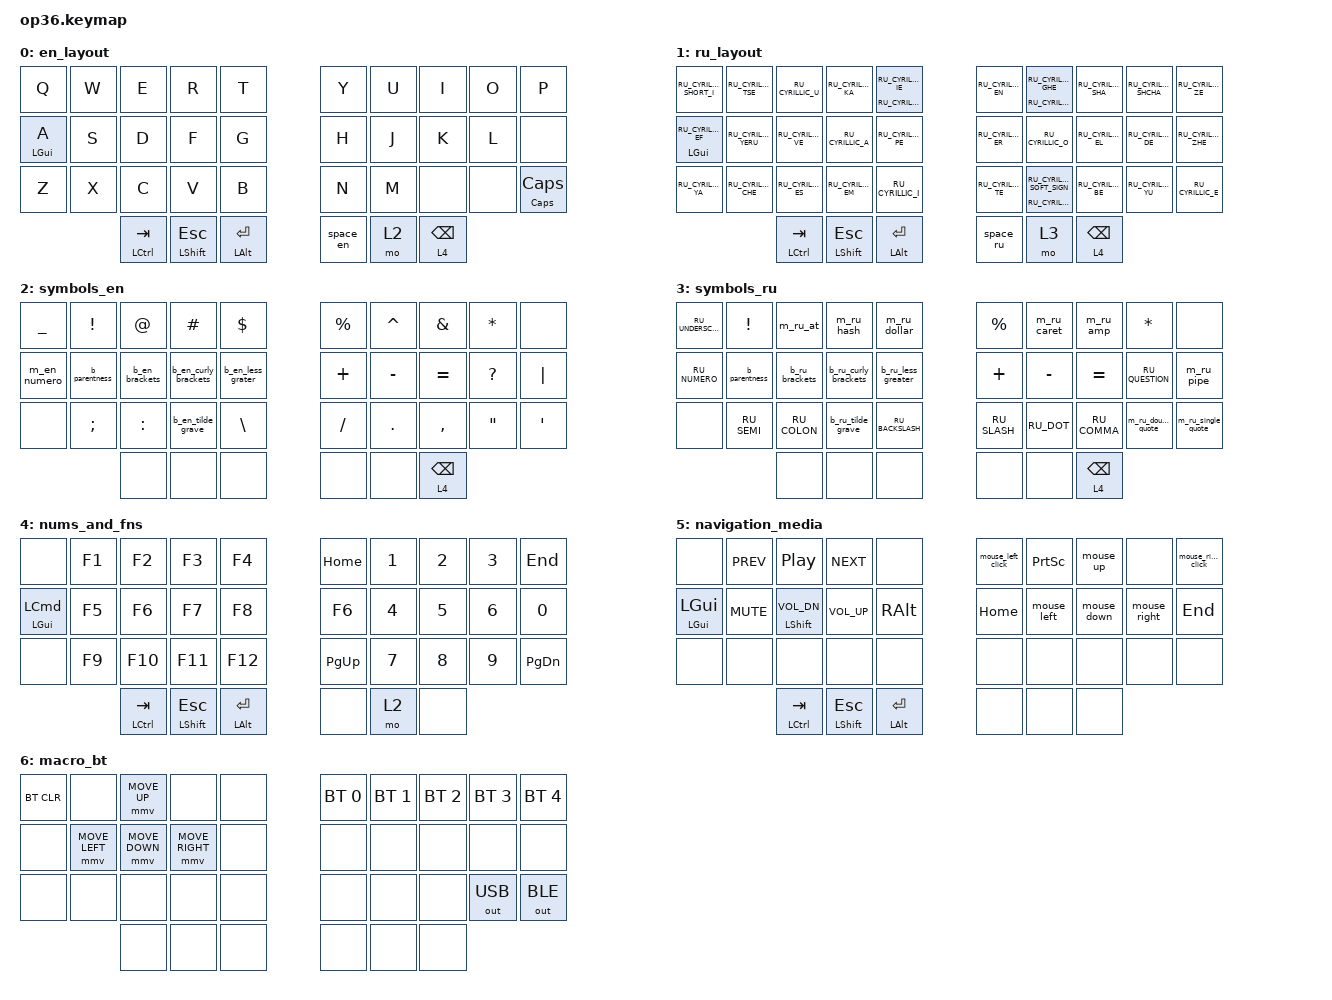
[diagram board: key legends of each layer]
#include "keys_ru.h"
#include <behaviors.dtsi>
#include <dt-bindings/zmk/bt.h>
#include <dt-bindings/zmk/keys.h>
#include <dt-bindings/zmk/outputs.h>
#include <dt-bindings/zmk/pointing.h>

&mt {
    flavor = "balanced";
    quick-tap-ms = <175>;
};

/ {
    behaviors {
        hml: home_row_mod_left {
            compatible = "zmk,behavior-hold-tap";
            #binding-cells = <2>;
            flavor = "balanced";
            require-prior-idle-ms = <150>;
            tapping-term-ms = <280>;
            quick-tap-ms = <175>;
            bindings = <&kp>, <&kp>;

            hold-trigger-key-positions = <5 6 7 8 9 15 16 17 18 19 25 26 27 28 29 33 34 35>;
            hold-trigger-on-release;
        };

        space_en: space_en {
            compatible = "zmk,behavior-tap-dance";
            label = "SPACE_EN";
            #binding-cells = <0>;
            bindings = <&kp SPACE>, <&space_comma_en>, <&space_dot_en>;
        };

        space_ru: space_ru {
            compatible = "zmk,behavior-tap-dance";
            label = "SPACE_RU";
            #binding-cells = <0>;
            bindings = <&kp SPACE>, <&space_comma_ru>, <&space_dot_ru>;
        };

        b_en_curly_brackets: b_en_curly_brackets {
            compatible = "zmk,behavior-tap-dance";
            label = "B_EN_CURLY_BRACKETS";
            #binding-cells = <0>;
            bindings = <&kp LEFT_BRACE>, <&kp RIGHT_BRACE>;
        };

        b_en_brackets: b_en_brackets {
            compatible = "zmk,behavior-tap-dance";
            label = "B_EN_BRACKETS";
            #binding-cells = <0>;
            bindings = <&kp LEFT_BRACKET>, <&kp RIGHT_BRACKET>;
        };

        b_parentness: b_parentness {
            compatible = "zmk,behavior-tap-dance";
            label = "B_PARENTNESS";
            #binding-cells = <0>;
            bindings = <&kp LPAR>, <&kp RPAR>;
        };

        b_en_less_grater: b_en_less_grater {
            compatible = "zmk,behavior-tap-dance";
            label = "B_EN_LESS_GRATER";
            #binding-cells = <0>;
            bindings = <&kp LT>, <&kp GT>;
        };

        b_ru_tilde_grave: b_ru_tilde_grave {
            compatible = "zmk,behavior-tap-dance";
            label = "B_RU_TILDE_GRAVE";
            #binding-cells = <0>;
            bindings = <&m_ru_tilde>, <&m_ru_grave>;
        };

        b_ru_curly_brackets: b_ru_curly_brackets {
            compatible = "zmk,behavior-tap-dance";
            label = "B_RU_CURLY_BRACKETS";
            #binding-cells = <0>;
            bindings = <&m_ru_curly_bracket_open>, <&m_ru_curly_bracket_close>;
        };

        b_ru_brackets: b_ru_brackets {
            compatible = "zmk,behavior-tap-dance";
            label = "B_RU_BRACKETS";
            #binding-cells = <0>;
            bindings = <&m_ru_bracket_open>, <&m_ru_bracket_close>;
        };

        b_ru_less_greater: b_ru_less_greater {
            compatible = "zmk,behavior-tap-dance";
            label = "B_RU_LESS_GREATER";
            #binding-cells = <0>;
            bindings = <&m_ru_less>, <&m_ru_grater>;
        };

        b_en_tilde_grave: b_en_tilde_grave {
            compatible = "zmk,behavior-tap-dance";
            label = "B_EN_TILDE_GRAVE";
            #binding-cells = <0>;
            bindings = <&kp TILDE>, <&kp GRAVE>;
        };

        mouse_left: mouse_left {
            compatible = "zmk,behavior-mod-morph";
            label = "MOUSE_LEFT";
            bindings = <&kp LEFT_ARROW>, <&mmv MOVE_LEFT>;

            #binding-cells = <0>;
            mods = <(MOD_RALT)>;
        };

        mouse_right: mouse_right {
            compatible = "zmk,behavior-mod-morph";
            label = "MOUSE_RIGHT";
            bindings = <&kp RIGHT_ARROW>, <&mmv MOVE_RIGHT>;

            #binding-cells = <0>;
            mods = <(MOD_RALT)>;
        };

        mouse_up: mouse_up {
            compatible = "zmk,behavior-mod-morph";
            label = "MOUSE_UP";
            bindings = <&kp UP>, <&mmv MOVE_UP>;

            #binding-cells = <0>;
            mods = <(MOD_RALT)>;
        };

        mouse_down: mouse_down {
            compatible = "zmk,behavior-mod-morph";
            label = "MOUSE_DOWN";
            bindings = <&kp DOWN_ARROW>, <&mmv MOVE_DOWN>;

            #binding-cells = <0>;
            mods = <(MOD_RALT)>;
        };

        mouse_left_click: mouse_left_click {
            compatible = "zmk,behavior-mod-morph";
            label = "MOUSE_LEFT_CLICK";
            bindings = <&none>, <&mkp LCLK>;

            #binding-cells = <0>;
            mods = <(MOD_RALT)>;
        };

        mouse_right_click: mouse_right_click {
            compatible = "zmk,behavior-mod-morph";
            label = "MOUSE_RIGHT_CLICK";
            bindings = <&none>, <&mkp RCLK>;

            #binding-cells = <0>;
            mods = <(MOD_RALT)>;
        };
    };

    combos {
        compatible = "zmk,combos";

        switch_to_en {
            bindings = <&to_en>;
            key-positions = <30 32>;
            layers = <1>;
        };

        switch_to_ru {
            bindings = <&to_ru>;
            key-positions = <30 32>;
            layers = <0>;
        };

        reboot {
            bindings = <&sys_reset>;
            key-positions = <1 3 6 8>;
        };
    };

    macros {
        space_comma_en: space_comma_en {
            compatible = "zmk,behavior-macro";
            #binding-cells = <0>;
            bindings = <&kp COMMA &kp SPACE>;
            label = "SPACE_COMMA_EN";
        };

        space_dot_en: space_dot_en {
            compatible = "zmk,behavior-macro";
            #binding-cells = <0>;
            bindings = <&kp DOT &kp SPACE>;
            label = "SPACE_DOT_EN";
        };

        space_comma_ru: space_comma_ru {
            compatible = "zmk,behavior-macro";
            #binding-cells = <0>;
            bindings = <&kp RU_COMMA &kp SPACE>;
            label = "SPACE_COMMA_RU";
        };

        space_dot_ru: space_dot_ru {
            compatible = "zmk,behavior-macro";
            #binding-cells = <0>;
            bindings = <&kp RU_DOT &kp SPACE>;
            label = "SPACE_DOT_RU";
        };

        to_en: to_en {
            compatible = "zmk,behavior-macro";
            #binding-cells = <0>;
            bindings = <&to 0 &kp LS(LALT)>;
            label = "TO_EN";
        };

        to_ru: to_ru {
            compatible = "zmk,behavior-macro";
            #binding-cells = <0>;
            bindings = <&to 1 &kp LS(LALT)>;
            label = "TO_RU";
        };

        m_ru_single_quote: m_single_quote {
            compatible = "zmk,behavior-macro";
            #binding-cells = <0>;
            bindings = <&kp LS(LEFT_ALT) &kp APOSTROPHE &kp LS(LALT)>;
            label = "M_SINGLE_QUOTE";
        };

        m_ru_double_quote: m_double_quote {
            compatible = "zmk,behavior-macro";
            #binding-cells = <0>;
            bindings = <&kp LS(LEFT_ALT) &kp DOUBLE_QUOTES &kp LS(LEFT_ALT)>;
            label = "M_DOUBLE_QUOTE";
        };

        m_ru_curly_bracket_open: ru_curly_brackets {
            compatible = "zmk,behavior-macro";
            #binding-cells = <0>;
            bindings = <&kp LS(LEFT_ALT) &kp LEFT_BRACE &kp LS(LALT)>;
            label = "RU_CURLY_BRACKETS";
        };

        m_ru_curly_bracket_close: m_en_curly_bracket_close {
            compatible = "zmk,behavior-macro";
            #binding-cells = <0>;
            bindings = <&kp LS(LALT) &kp RIGHT_BRACE &kp LS(LALT)>;
            label = "M_EN_CURLY_BRACKET_CLOSE";
        };

        m_ru_bracket_open: ru_bracket_open {
            compatible = "zmk,behavior-macro";
            #binding-cells = <0>;
            bindings = <&kp LS(LALT) &kp LEFT_BRACKET &kp LS(LALT)>;
            label = "RU_BRACKET_OPEN";
        };

        m_ru_bracket_close: ru_bracket_close {
            compatible = "zmk,behavior-macro";
            #binding-cells = <0>;
            bindings = <&kp LS(LALT) &kp RIGHT_BRACKET &kp LS(LALT)>;
            label = "RU_BRACKET_CLOSE";
        };

        m_ru_tilde: m_tilde {
            compatible = "zmk,behavior-macro";
            #binding-cells = <0>;
            bindings = <&kp LS(LEFT_ALT) &kp TILDE &kp LS(LEFT_ALT)>;
            label = "M_TILDE";
        };

        m_ru_grave: m_apos {
            compatible = "zmk,behavior-macro";
            #binding-cells = <0>;
            bindings = <&kp LS(LALT) &kp GRAVE &kp LS(LEFT_ALT)>;
            label = "M_APOS";
        };

        m_ru_hash: m_en_hash {
            compatible = "zmk,behavior-macro";
            #binding-cells = <0>;
            bindings = <&kp LS(LEFT_ALT) &kp HASH &kp LS(LALT)>;
            label = "M_EN_HASH";
        };

        m_en_numero: m_en_numero {
            compatible = "zmk,behavior-macro";
            #binding-cells = <0>;
            bindings = <&kp LS(LALT) &kp RU_NUMERO &kp LS(LALT)>;
            label = "M_EN_NUMERO";
        };

        m_ru_at: m_at {
            compatible = "zmk,behavior-macro";
            #binding-cells = <0>;
            bindings = <&kp LS(LALT) &kp AT_SIGN &kp LS(LALT)>;
            label = "M_AT";
        };

        m_ru_amp: m_amp {
            compatible = "zmk,behavior-macro";
            #binding-cells = <0>;
            bindings = <&kp LS(LEFT_ALT) &kp AMPERSAND &kp LS(LALT)>;
            label = "M_AMP";
        };

        m_ru_caret: m_caret {
            compatible = "zmk,behavior-macro";
            #binding-cells = <0>;
            bindings = <&kp LS(LEFT_ALT) &kp CARET &kp LS(LEFT_ALT)>;
            label = "M_CARET";
        };

        m_ru_dollar: m_ru_dollar {
            compatible = "zmk,behavior-macro";
            #binding-cells = <0>;
            bindings = <&kp LS(LEFT_ALT) &kp DOLLAR &kp LS(LALT)>;
            label = "M_RU_DOLLAR";
        };

        m_ru_pipe: m_ru_pipe {
            compatible = "zmk,behavior-macro";
            #binding-cells = <0>;
            bindings = <&kp LS(LEFT_ALT) &kp PIPE &kp LS(LEFT_ALT)>;
            label = "M_RU_PIPE";
        };

        m_ru_grater: m_ru_grater {
            compatible = "zmk,behavior-macro";
            #binding-cells = <0>;
            bindings = <&kp LS(LALT) &kp GREATER_THAN &kp LS(LEFT_ALT)>;
            label = "M_RU_GRATER";
        };

        m_ru_less: b_less_than {
            compatible = "zmk,behavior-macro";
            #binding-cells = <0>;
            bindings = <&kp LS(LALT) &kp LESS_THAN &kp LS(LEFT_ALT)>;
            label = "B_LESS_THAN";
        };
    };

    keymap {
        compatible = "zmk,keymap";

        en_layout {
            bindings = <
  &kp Q        &kp W  &kp E  &kp R          &kp T                                                &kp Y  &kp U            &kp I  &kp O  &kp P
  &hml LGUI A  &kp S  &kp D  &kp F          &kp G                                                &kp H  &kp J            &kp K  &kp L  &none
  &kp Z        &kp X  &kp C  &kp V          &kp B                                                &kp N  &kp M            &none  &none  &mt CAPSLOCK CAPSLOCK
                             &mt LCTRL TAB  &mt LEFT_SHIFT ESC  &mt LEFT_ALT ENTER    &space_en  &mo 2  &lt 4 BACKSPACE
            >;

            display-name = "en_layout";
        };

        ru_layout {
            display-name = "ru_layout";
            bindings = <
  &kp RU_CYRILLIC_SHORT_I   &kp RU_CYRILLIC_TSE   &kp RU_CYRILLIC_U   &kp RU_CYRILLIC_KA  &mt RU_CYRILLIC_IO RU_CYRILLIC_IE                                   &kp RU_CYRILLIC_EN  &mt RU_CYRILLIC_HA RU_CYRILLIC_GHE               &kp RU_CYRILLIC_SHA  &kp RU_CYRILLIC_SHCHA  &kp RU_CYRILLIC_ZE
  &hml LGUI RU_CYRILLIC_EF  &kp RU_CYRILLIC_YERU  &kp RU_CYRILLIC_VE  &kp RU_CYRILLIC_A   &kp RU_CYRILLIC_PE                                                  &kp RU_CYRILLIC_ER  &kp RU_CYRILLIC_O                                &kp RU_CYRILLIC_EL   &kp RU_CYRILLIC_DE     &kp RU_CYRILLIC_ZHE
  &kp RU_CYRILLIC_YA        &kp RU_CYRILLIC_CHE   &kp RU_CYRILLIC_ES  &kp RU_CYRILLIC_EM  &kp RU_CYRILLIC_I                                                   &kp RU_CYRILLIC_TE  &mt RU_CYRILLIC_HARD_SIGN RU_CYRILLIC_SOFT_SIGN  &kp RU_CYRILLIC_BE   &kp RU_CYRILLIC_YU     &kp RU_CYRILLIC_E
                                                                      &mt LCTRL TAB       &mt LEFT_SHIFT ESC                 &mt LEFT_ALT ENTER    &space_ru  &mo 3               &lt 4 BACKSPACE
            >;
        };

        symbols_en {
            bindings = <
  &kp UNDER     &kp EXCL       &kp AT_SIGN     &kp HASH              &kp DOLLAR                         &kp PRCNT  &kp CARET        &kp AMPERSAND  &kp ASTRK          &none
  &m_en_numero  &b_parentness  &b_en_brackets  &b_en_curly_brackets  &b_en_less_grater                  &kp PLUS   &kp MINUS        &kp EQUAL      &kp QMARK          &kp PIPE
  &none         &kp SEMI       &kp COLON       &b_en_tilde_grave     &kp BSLH                           &kp FSLH   &kp DOT          &kp COMMA      &kp DOUBLE_QUOTES  &kp SINGLE_QUOTE
                                               &none                 &none              &none    &none  &none      &lt 4 BACKSPACE
            >;
        };

        symbols_ru {
            bindings = <
  &kp RU_UNDERSCORE  &kp EXCL       &m_ru_at        &m_ru_hash            &m_ru_dollar                        &kp PRCNT     &m_ru_caret      &m_ru_amp     &kp ASTRK           &none
  &kp RU_NUMERO      &b_parentness  &b_ru_brackets  &b_ru_curly_brackets  &b_ru_less_greater                  &kp PLUS      &kp MINUS        &kp EQUAL     &kp RU_QUESTION     &m_ru_pipe
  &none              &kp RU_SEMI    &kp RU_COLON    &b_ru_tilde_grave     &kp RU_BACKSLASH                    &kp RU_SLASH  &kp RU_DOT       &kp RU_COMMA  &m_ru_double_quote  &m_ru_single_quote
                                                    &none                 &none               &none    &none  &none         &lt 4 BACKSPACE
            >;
        };

        nums_and_fns {
            bindings = <
  &none          &kp F1  &kp F2   &kp F3         &kp F4                                           &kp HOME   &kp N1  &kp N2        &kp N3  &kp END
  &mt LGUI LCMD  &kp F5  &kp F6   &kp F7         &kp F8                                           &kp F6     &kp N4  &kp NUMBER_5  &kp N6  &kp N0
  &none          &kp F9  &kp F10  &kp F11        &kp F12                                          &kp PG_UP  &kp N7  &kp N8        &kp N9  &kp PG_DN
                                  &mt LCTRL TAB  &mt LEFT_SHIFT ESC  &mt LEFT_ALT ENTER    &none  &mo 2      &none
            >;
        };

        navigation_media {
            bindings = <
  &none          &kp C_PREV  &kp C_PLAY_PAUSE     &kp C_NEXT     &none                                        &mouse_left_click  &kp PRINTSCREEN  &mouse_up    &none         &mouse_right_click
  &mt LGUI LGUI  &kp C_MUTE  &mt LSHIFT C_VOL_DN  &kp C_VOL_UP   &kp RIGHT_ALT                                &kp HOME           &mouse_left      &mouse_down  &mouse_right  &kp END
  &none          &none       &none                &none          &none                                        &none              &none            &none        &none         &none
                                                  &mt LCTRL TAB  &mt LEFT_SHIFT ESC  &mt LALT ENTER    &none  &none              &none
            >;
        };

        macro_bt {
            bindings = <
  &bt BT_CLR  &none           &mmv MOVE_UP    &none            &none                  &bt BT_SEL 0  &bt BT_SEL 1  &bt BT_SEL 2  &bt BT_SEL 3  &bt BT_SEL 4
  &none       &mmv MOVE_LEFT  &mmv MOVE_DOWN  &mmv MOVE_RIGHT  &none                  &none         &none         &none         &none         &none
  &none       &none           &none           &none            &none                  &none         &none         &none         &out OUT_USB  &out OUT_BLE
                                              &none            &none  &none    &none  &none         &none
            >;
        };
    };

    conditional_layers {
        compatible = "zmk,conditional-layers";

        navigation_en {
            if-layers = <2 4>;
            then-layer = <5>;
        };

        navigation_ru {
            if-layers = <3 4>;
            then-layer = <5>;
        };
    };
};
